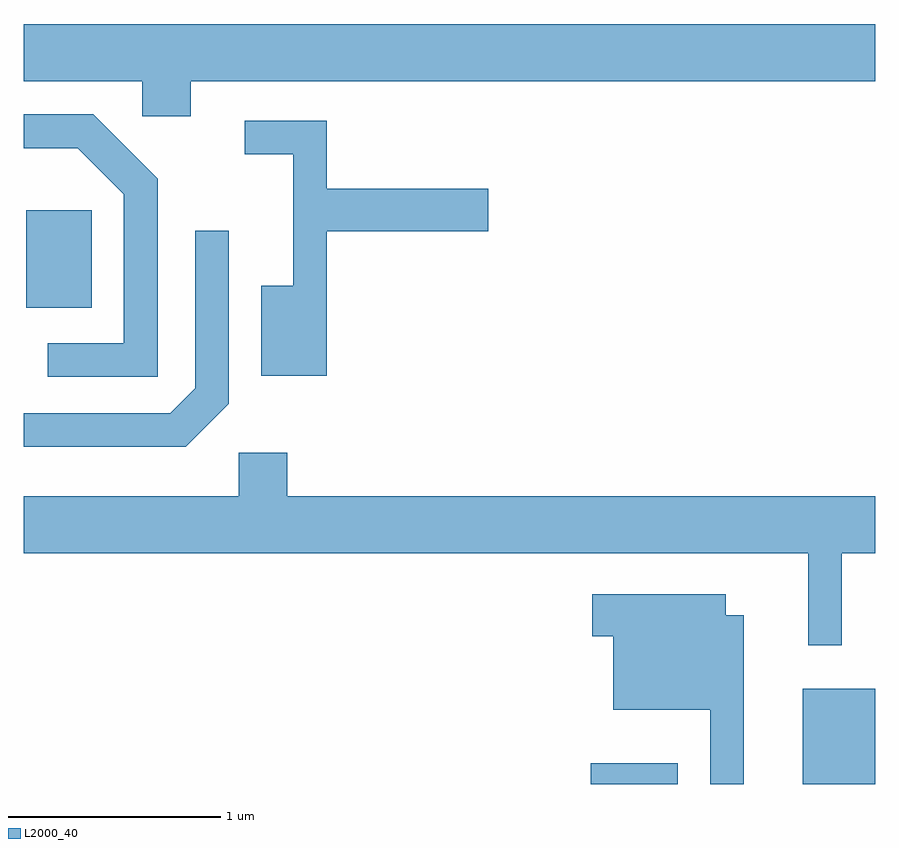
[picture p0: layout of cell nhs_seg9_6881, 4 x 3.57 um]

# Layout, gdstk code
import gdstk
lib = gdstk.Library(unit=1e-6, precision=1e-09)
def R(c, l, rs):  # rectangles x0, y0, x1, y1
    for r in rs: c.add(gdstk.rectangle(r[:2], r[2:], *l))
def P(c, l, *ps):  # polygons
    for p in ps: c.add(gdstk.Polygon(p, *l))
L2000_40 = (2000, 40)

nhs_seg9_6881 = lib.new_cell('nhs_seg9_6881')
R(nhs_seg9_6881, L2000_40, [(390.276,2068.432,390.684,2068.529), (391.271,2068.432,391.611,2068.879), (387.621,2070.671,387.929,2071.129)])
P(nhs_seg9_6881, L2000_40, [(388.394,2071.736),(391.611,2071.736),(391.611,2072.004),(387.611,2072.004),(387.611,2071.736),(388.166,2071.736),(388.166,2071.571),(388.394,2071.571)],
  [(388.239,2071.277),(387.937,2071.579),(387.611,2071.579),(387.611,2071.421),(387.864,2071.421),(388.081,2071.204),(388.081,2070.504),(387.723,2070.504),(387.723,2070.346),(388.239,2070.346)],
  [(389.034,2071.031),(389.794,2071.031),(389.794,2071.229),(389.034,2071.229),(389.034,2071.549),(388.648,2071.549),(388.648,2071.391),(388.876,2071.391),(388.876,2070.774),(388.726,2070.774),(388.726,2070.351),(389.034,2070.351)],
  [(388.574,2070.219),(388.574,2071.033),(388.416,2071.033),(388.416,2070.292),(388.299,2070.174),(387.611,2070.174),(387.611,2070.016),(388.372,2070.016)],
  [(391.454,2069.516),(391.611,2069.516),(391.611,2069.784),(388.849,2069.784),(388.849,2069.989),(388.621,2069.989),(388.621,2069.784),(387.611,2069.784),(387.611,2069.516),(391.296,2069.516),(391.296,2069.083),(391.454,2069.083)],
  [(390.994,2069.224),(390.909,2069.224),(390.909,2069.324),(390.281,2069.324),(390.281,2069.126),(390.381,2069.126),(390.381,2068.781),(390.836,2068.781),(390.836,2068.432),(390.994,2068.432)])

lib.write_gds('nhs_seg9_6881.gds')
